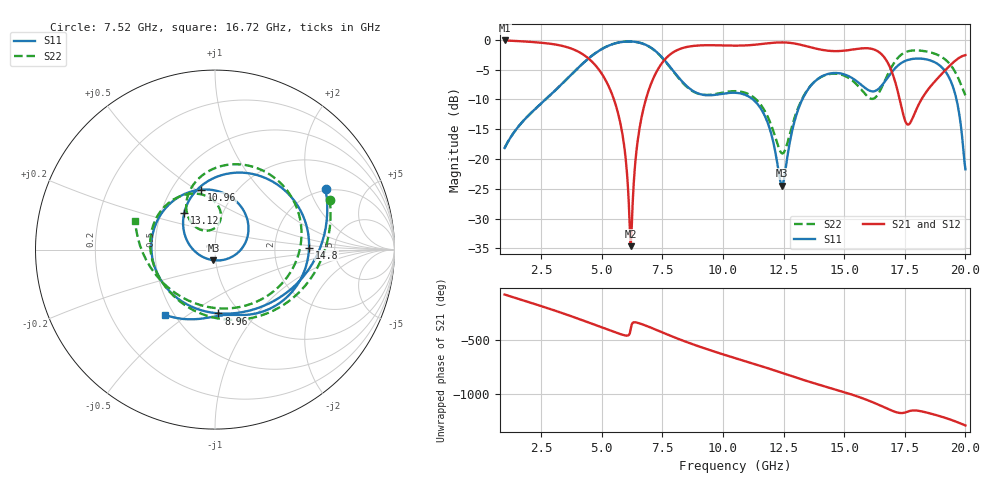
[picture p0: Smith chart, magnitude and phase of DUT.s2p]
! Touchstone file from project TestMultiLine
! Exported from HFSS 14.0.0
! Variables:
!  gap = 8mm
!  hair = 35mm
!  hsub = 0.762mm
!  l = 36mm
!  lair = 50mm
!  lmic = 14mm
!  w = 25mm
!  wair = 40mm
!  wmic = 2.1mm
!  wp = 1mm
!Data is not renormalized
# GHZ S MA
! Modal data exported
! Port[1] = 1:1
! Port[2] = 2:1
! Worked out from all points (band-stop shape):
!   476 points, 1 GHz to 20 GHz, reference per port
!   highest |S21| = -0.11 dB at 1 GHz (marker M1); lowest = -34.6 dB at 6.2 GHz (marker M2)
!   |S21| within 3 dB of the highest: start of sweep to 4.452 GHz; 7.652 GHz to 16.69 GHz (9.035 GHz wide, 74.2 % of centre)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
!   lowest |S11| = -24.5 dB at 12.44 GHz (marker M3), VSWR 1.13
!   |S11| at or under -10 dB: start of sweep to 2.689 GHz; 11.24 GHz to 13.28 GHz (2.039 GHz wide, 16.6 % of centre); 19.63 GHz to end of sweep
!   |S22| runs from -19.1 to -0.3 dB; largest |S21 - S12| = 1.1e-10
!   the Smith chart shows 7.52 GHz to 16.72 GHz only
!   S11 on the Smith chart (normalised r, x): 7.52 GHz: 1.94, +2.58; 8.96 GHz: 0.80, -0.65; 10.96 GHz: 0.69, +0.53; 13.12 GHz: 0.66, +0.29; 14.8 GHz: 3.20, +0.10; 16.72 GHz: 0.45, -0.41
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1  0.1238 -161.0  0.9877 -70.8  0.9877 -70.8  0.1239 -159.5
2.52  0.294 90.2  0.9443 -179.9  0.9443 -179.9  0.2937 90.6
3.44  0.4424 22.8  0.883 110.5  0.883 110.5  0.4421 17.6
4.2  0.6264 -38.0  0.7619 49.1  0.7619 49.1  0.6266 -44.7
5.12  0.8606 -117.6  0.4758 -28.6  0.4758 -28.6  0.8616 -121.2
6.2  0.9682 147.7  0.01857 -35.4  0.01857 -35.4  0.9687 148.7
7.36  0.7593 43.0  0.583 -51.9  0.583 -51.9  0.7555 39.9
7.52  0.7022 28.7  0.6504 -67.1  0.6504 -67.1  0.6971 23.5
8.96  0.3559 -86.9  0.895 167.1  0.895 167.1  0.3544 -114.3
10.52  0.3593 139.7  0.8936 52.0  0.8936 52.0  0.371 148.7
10.96  0.3428 103.0  0.8982 21.4  0.8982 21.4  0.3572 124.9
12.44  0.0599 -98.2  0.9514 -85.3  0.9514 -85.3  0.1114 102.5
13.12  0.2653 130.4  0.9169 -136.5  0.9169 -136.5  0.2739 125.6
13.68  0.4244 82.2  0.859 -176.6  0.859 -176.6  0.4256 98.1
14.8  0.5242 1.3  0.805 108.1  0.805 108.1  0.5151 31.3
16  0.3784 -74.9  0.8486 15.9  0.8486 15.9  0.3295 -84.3
16.72  0.4586 -127.8  0.6837 -54.2  0.6837 -54.2  0.4734 160.0
16.84  0.4955 -142.9  0.6194 -66.4  0.6194 -66.4  0.5328 144.7
17.68  0.6825 90.0  0.1959 -83.8  0.1959 -83.8  0.8055 62.4
18.44  0.6818 4.5  0.378 -99.2  0.378 -99.2  0.795 15.6
19.2  0.5337 -62.0  0.5636 -149.0  0.5636 -149.0  0.6751 -23.1
20  0.08197 -74.1  0.744 141.9  0.744 141.9  0.3426 -43.5
